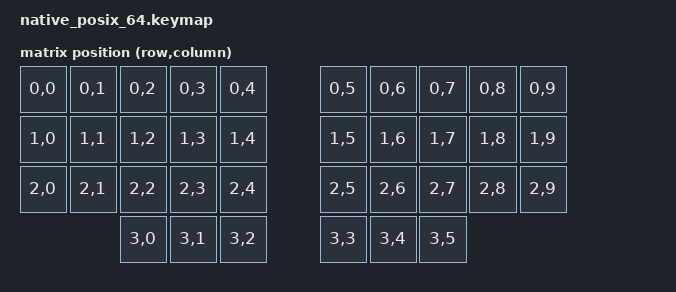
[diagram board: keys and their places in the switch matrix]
#include <dt-bindings/zmk/matrix_transform.h>
#include <dt-bindings/zmk/kscan_mock.h>

/ {
    chosen {
        zmk,matrix-transform = &transform;
    };

    /* op36 position N is RC(N/10, N%10); thumbs 30..35 are row 3. */
    transform: keymap_transform {
        compatible = "zmk,matrix-transform";
        columns = <10>;
        rows = <4>;
        map = <
            RC(0,0) RC(0,1) RC(0,2) RC(0,3) RC(0,4) RC(0,5) RC(0,6) RC(0,7) RC(0,8) RC(0,9)
            RC(1,0) RC(1,1) RC(1,2) RC(1,3) RC(1,4) RC(1,5) RC(1,6) RC(1,7) RC(1,8) RC(1,9)
            RC(2,0) RC(2,1) RC(2,2) RC(2,3) RC(2,4) RC(2,5) RC(2,6) RC(2,7) RC(2,8) RC(2,9)
            RC(3,0) RC(3,1) RC(3,2) RC(3,3) RC(3,4) RC(3,5)
        >;
    };
};&kscan {
    rows = <4>;
    columns = <10>;
    events = <
        /* lead-in so require-prior-idle-ms sees real idle time */
        ZMK_MOCK_PRESS(0,1,10)
        ZMK_MOCK_RELEASE(0,1,400)

        /* cmbru (thumbs 31+34) leaves en for ru, and taps Globe so
           the host follows. Everything below therefore resolves on ru. */
        ZMK_MOCK_PRESS(3,1,5)
        ZMK_MOCK_PRESS(3,4,20)
        ZMK_MOCK_RELEASE(3,1,10)
        ZMK_MOCK_RELEASE(3,4,300)

        /* "мо" rolled: о goes down and up while м (pos 23) is still held, and
           м is released inside the tapping term. Under the file's balanced
           &lt this would decide hold and lose both letters; tap-preferred
           must emit м then о. */
        ZMK_MOCK_PRESS(2,3,40)
        ZMK_MOCK_PRESS(1,6,40)
        ZMK_MOCK_RELEASE(1,6,40)
        ZMK_MOCK_RELEASE(2,3,300)

        /* "ть " — ь (pos 26) rolled into Space, the shape that ends most
           Russian words. The ь must survive. */
        ZMK_MOCK_PRESS(2,5,40)
        ZMK_MOCK_RELEASE(2,5,40)
        ZMK_MOCK_PRESS(2,6,40)
        ZMK_MOCK_PRESS(3,1,40)
        ZMK_MOCK_RELEASE(3,1,20)
        ZMK_MOCK_RELEASE(2,6,300)
    >;
};

#include "/cfg/op36_ruen.keymap"
